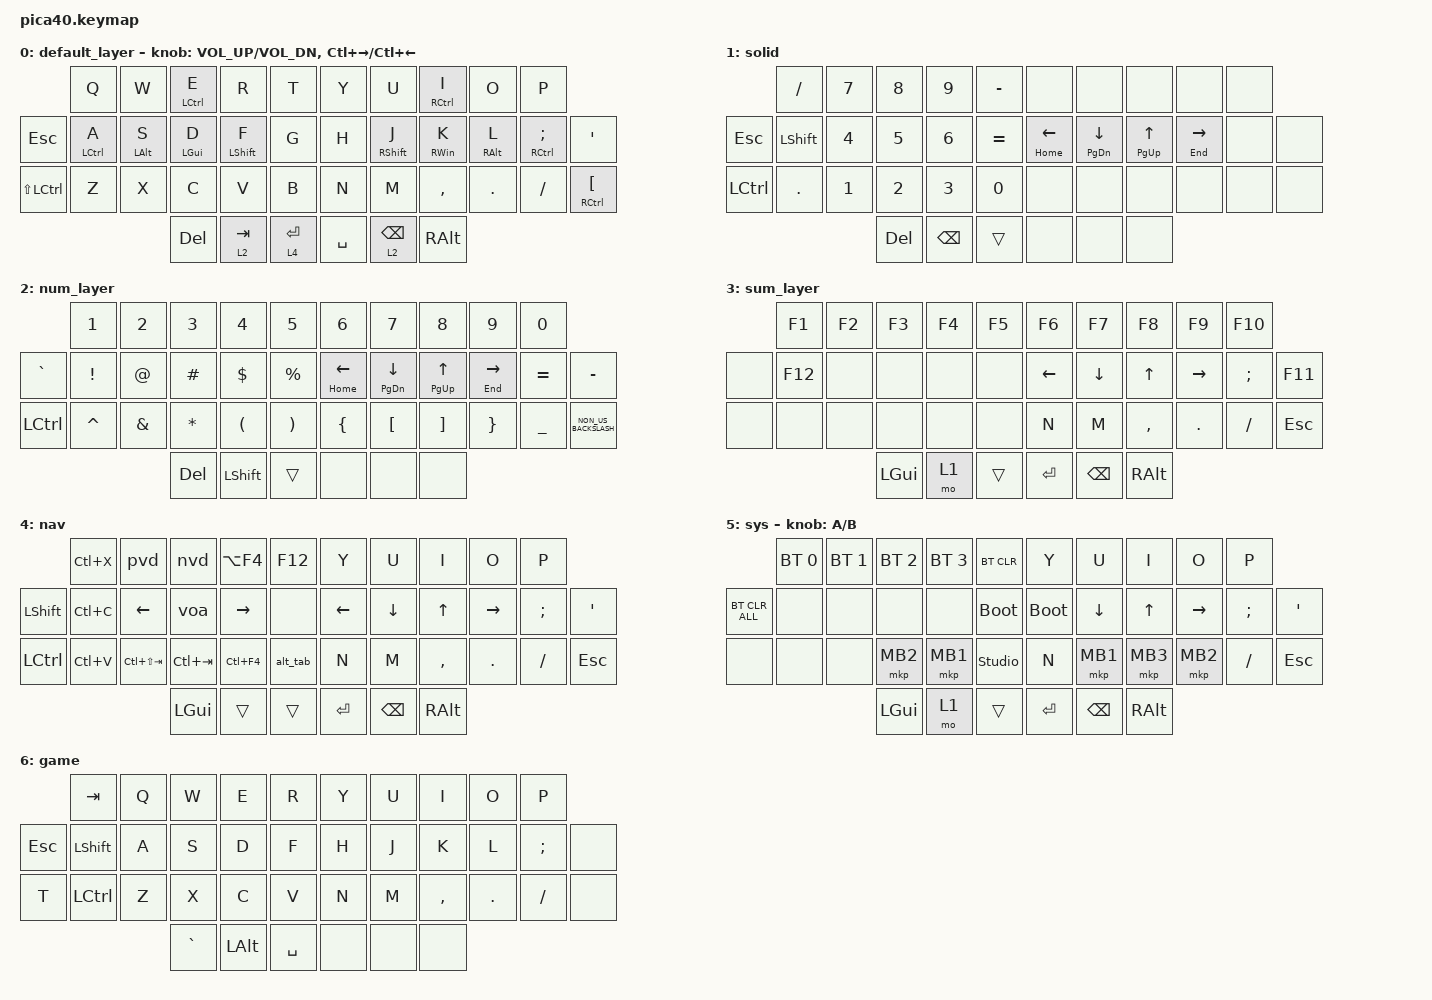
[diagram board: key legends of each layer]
#include <behaviors.dtsi>
#include <dt-bindings/zmk/bt.h>
#include <dt-bindings/zmk/keys.h>
#include <dt-bindings/zmk/pointing.h>

#define KEYS_L 0 1 2 3 4 10 11 12 13 14 15 22 23 24 25 26 27  // left-hand keys
#define KEYS_R 5 6 7 8 9 16 17 18 19 20 21 28 29 30 31 32 33  // right-hand keys
#define THUMBS 34 35 36 37 38 39
#define QWERTY 0
#define NAV 1
#define NUM 2
#define SYM 3
#define FUNC 4
#define SYS 5

&lt { tapping-term-ms = <200>; };

&mt { tapping-term-ms = <150>; };

/ {
    macros {
        alt_tab: alt_tab {
            compatible = "zmk,behavior-macro";
            #binding-cells = <0>;
            bindings = <&kp LA(TAB)>;
            label = "ALT_TAB";
        };

        tgl_lt: tgl_lt {
            compatible = "zmk,behavior-macro";
            #binding-cells = <0>;
            bindings = <&kp LA(LSHFT)>;
            label = "TGL_LT";
        };

        voa: voa {
            compatible = "zmk,behavior-macro";
            #binding-cells = <0>;
            bindings =
                <&macro_press>,
                <&kp LALT>,
                <&macro_tap>,
                <&kp TAB>,
                <&macro_pause_for_release>,
                <&macro_release>,
                <&kp LALT>;

            label = "VOA";
        };

        nvd: nvd {
            compatible = "zmk,behavior-macro";
            #binding-cells = <0>;
            bindings = <&kp LC(LG(RIGHT))>;
            label = "NVD";
        };

        pvd: pvd {
            compatible = "zmk,behavior-macro";
            #binding-cells = <0>;
            bindings = <&kp LC(LG(LEFT))>;
            label = "PVD";
        };
    };

    combos {
        compatible = "zmk,combos";

        swlg {
            bindings = <&kp LG(SPACE)>;
            key-positions = <14 15>;
        };

        game {
            bindings = <&to 6>;
            key-positions = <2 1>;
        };

        def {
            bindings = <&to 0>;
            key-positions = <13 14>;
            slow-release;
            layers = <6 5 4 0 1 2 3>;
        };

        cw {
            bindings = <&caps_word>;
            key-positions = <14 17>;
        };

        sw {
            bindings = <&to 1>;
            key-positions = <13 12>;
        };

        std_unlock {
            bindings = <&studio_unlock>;
            key-positions = <11 12>;
        };

        sys {
            bindings = <&to 5>;
            key-positions = <24 23>;
        };
    };

    keymap {
        compatible = "zmk,keymap";

        default_layer {
            bindings = <
               &kp Q               &kp W           &mt LEFT_CONTROL E  &kp R             &kp T          &kp Y      &kp U              &mt RIGHT_CONTROL I  &kp O            &kp P
&kp ESCAPE     &mt LEFT_CONTROL A  &mt LEFT_ALT S  &mt LEFT_GUI D      &mt LEFT_SHIFT F  &kp G          &kp H      &mt RIGHT_SHIFT J  &mt RIGHT_WIN K      &mt RIGHT_ALT L  &mt RIGHT_CONTROL SEMICOLON  &kp SQT
&kp LS(LCTRL)  &kp Z               &kp X           &kp C               &kp V             &kp B          &kp N      &kp M              &kp COMMA            &kp DOT          &kp FSLH                     &mt RCTRL LEFT_BRACKET
                                                   &kp DEL             &lt 2 TAB         &lt 4 ENTER    &kp SPACE  &lt 2 BSPC         &kp RALT
            >;

            sensor-bindings =
                <&inc_dec_kp C_VOL_UP C_VOL_DN>,
                <&inc_dec_kp LC(RIGHT) LC(LEFT)>;
        };

        sw_layer {
            bindings = <
           &kp SLASH       &kp N7        &kp N8        &kp N9         &kp MINUS    &none          &none           &none         &none          &none
&kp ESC    &kp LEFT_SHIFT  &kp NUMBER_4  &kp N5        &kp NUMBER_6   &kp EQUAL    &mt HOME LEFT  &mt PG_DN DOWN  &mt PG_UP UP  &mt END RIGHT  &none  &none
&kp LCTRL  &kp DOT         &kp NUMBER_1  &kp NUMBER_2  &kp NUMBER_3   &kp N0       &none          &none           &none         &none          &none  &none
                                         &kp DEL       &kp BACKSPACE  &trans       &none          &none           &none
            >;

            label = "solid";
        };

        num_layer {
            bindings = <
           &kp NUMBER_1  &kp NUMBER_2   &kp NUMBER_3  &kp NUMBER_4          &kp N5                   &kp NUMBER_6    &kp N7              &kp N8          &kp N9           &kp N0
&kp GRAVE  &kp EXCL      &kp AT         &kp HASH      &kp DOLLAR            &kp PERCENT              &mt HOME LEFT   &mt PAGE_DOWN DOWN  &mt PAGE_UP UP  &mt END RIGHT    &kp EQUAL       &kp MINUS
&kp LCTRL  &kp CARET     &kp AMPERSAND  &kp ASTERISK  &kp LEFT_PARENTHESIS  &kp RIGHT_PARENTHESIS    &kp LEFT_BRACE  &kp LBKT            &kp RBKT        &kp RIGHT_BRACE  &kp UNDERSCORE  &kp NON_US_BACKSLASH
                                        &kp DEL       &kp LEFT_SHIFT        &trans                   &none           &none               &none
            >;
        };

        sum_layer {
            bindings = <
       &kp F1   &kp F2  &kp F3    &kp F4  &kp F5    &kp F6     &kp F7    &kp F8     &kp F9     &kp F10
&none  &kp F12  &none   &none     &none   &none     &kp LEFT   &kp DOWN  &kp UP     &kp RIGHT  &kp SEMI  &kp F11
&none  &none    &none   &none     &none   &none     &kp N      &kp M     &kp COMMA  &kp DOT    &kp FSLH  &kp ESC
                        &kp LGUI  &mo 1   &trans    &kp ENTER  &kp BSPC  &kp RALT
            >;
        };

        nav_layer {
            bindings = <
           &kp LC(X)  &pvd             &nvd         &kp LA(F4)  &kp F12     &kp Y      &kp U     &kp I      &kp O      &kp P
&kp LSHFT  &kp LC(C)  &kp LEFT_ARROW   &voa         &kp RIGHT   &none       &kp LEFT   &kp DOWN  &kp UP     &kp RIGHT  &kp SEMI  &kp SQT
&kp LCTRL  &kp LC(V)  &kp LC(LS(TAB))  &kp LC(TAB)  &kp LC(F4)  &alt_tab    &kp N      &kp M     &kp COMMA  &kp DOT    &kp FSLH  &kp ESC
                                       &kp LGUI     &trans      &trans      &kp ENTER  &kp BSPC  &kp RALT
            >;

            label = "nav";
        };

        sys_layer {
            bindings = <
                &bt BT_SEL 0  &bt BT_SEL 1  &bt BT_SEL 2  &bt BT_SEL 3  &bt BT_CLR        &kp Y        &kp U     &kp I     &kp O      &kp P
&bt BT_CLR_ALL  &none         &none         &none         &none         &bootloader       &bootloader  &kp DOWN  &kp UP    &kp RIGHT  &kp SEMI  &kp SQT
&none           &none         &none         &mkp MB2      &mkp MB1      &studio_unlock    &kp N        &mkp MB1  &mkp MB3  &mkp MB2   &kp FSLH  &kp ESC
                                            &kp LGUI      &mo 1         &trans            &kp ENTER    &kp BSPC  &kp RALT
            >;

            sensor-bindings = <&inc_dec_kp A B>;
            label = "sys";
        };

        GAME {
            bindings = <
         &kp TAB         &kp Q  &kp W      &kp E         &kp R        &kp Y  &kp U  &kp I      &kp O       &kp P
&kp ESC  &kp LEFT_SHIFT  &kp A  &kp S      &kp D         &kp F        &kp H  &kp J  &kp K      &kp L       &kp SEMICOLON  &none
&kp T    &kp LCTRL       &kp Z  &kp X      &kp C         &kp V        &kp N  &kp M  &kp COMMA  &kp PERIOD  &kp SLASH      &none
                                &kp GRAVE  &kp LEFT_ALT  &kp SPACE    &none  &none  &none
            >;

            label = "game";
        };
    };
};
